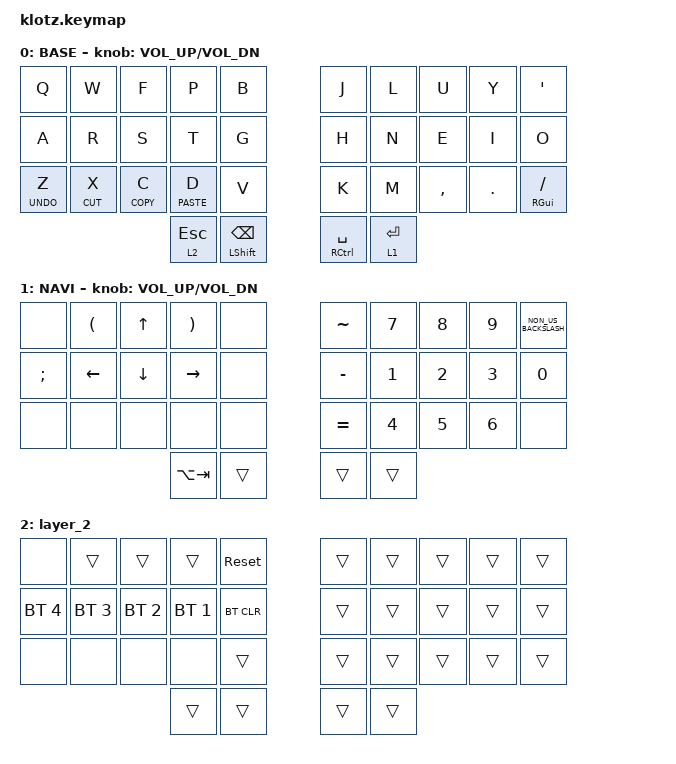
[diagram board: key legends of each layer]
//                                      █         ██        ▄▀▀▀▀▀▀▀▀▀▀█▀▀▀▀▀▀▀▀█▀▀▀▀▀▀▀▀▀▀█
//                                      █        █ █      ▄▀            ▀▄      █         █
//                                      █       █  █    ▄▀                ▀▄    █        █
//                                      █      █   █   █                    █   █       █
//                                      █     █    █   █                    █   █      █
//                                      █    █     █   █                    █   █  ▀▀▀█▀▀▀▀
//                                      █   █ █    █   █                    █   █    █
//                                      █  █   █   █   █                    █   █   █
//                                      █ █     █  █    ▀▄                ▄▀    █  █
//                                      ██       █ █      ▀▄            ▄▀      █ █
//                                      █         ██▄▄▄▄▄▄▄▄█▄▄▄▄▄▄▄▄▄▄▀        ██▄▄▄▄▄▄▄▄▄▄
//
// ▄▄▄▄▄▄▄▄▄▄▄▄▄▄▄▄▄▄▄▄▄▄▄▄▄▄▄▄▄▄▄▄▄▄▄▄▄▄▄▄▄▄▄▄▄▄▄▄▄▄▄▄▄▄▄▄▄▄▄▄▄▄▄▄▄▄▄▄▄▄▄▄▄▄▄▄▄▄▄▄▄▄▄▄▄▄▄▄▄▄▄▄▄▄▄▄▄▄▄▄▄▄▄▄▄▄▄▄▄▄▄▄▄▄▄▄▄▄▄▄▄▄▄▄▄

#include <behaviors.dtsi>
#include <dt-bindings/zmk/bt.h>
#include <dt-bindings/zmk/keys.h>

#define BASE 0
#define NAV  1
#define SYM  2
#define ADJ  3
#define TVP1 4
#define TVP2 5

&mt {
    quick-tap-ms = <100>;
    global-quick-tap;
    flavor = "tap-preferred";
    tapping-term-ms = <180>;
};

/ {
    combos {
        compatible = "zmk,combos";

        enter {
            bindings = <&kp ENTER>;
            key-positions = <16 17 18>;
        };

        Tab {
            bindings = <&kp TAB>;
            key-positions = <11 12 13>;
        };

        Word_Right {
            bindings = <&kp LC(RIGHT)>;
            key-positions = <13 12>;
            layers = <1>;
        };

        Word_Left {
            bindings = <&kp LC(LEFT)>;
            key-positions = <11 12>;
            layers = <1>;
        };
    };

    behaviors {
        UCCP: UCCP {
            compatible = "zmk,behavior-hold-tap";
            label = "UCCP";
            bindings = <&kp>, <&kp>;

            #binding-cells = <2>;
            tapping-term-ms = <200>;
            hold-trigger-key-positions = <22>;
            flavor = "tap-preferred";
        };
    };

    keymap {
        compatible = "zmk,keymap";

        // ▄▄▄▄▄▄▄▄▄▄▄▄▄▄▄▄▄▄▄▄▄▄▄▄▄▄▄▄▄▄▄▄▄▄▄▄▄▄▄▄▄▄▄▄▄▄▄▄▄▄▄▄▄▄▄▄▄▄▄▄▄▄▄▄▄▄▄▄▄▄▄▄▄▄▄▄▄▄▄▄▄▄▄▄▄▄▄▄▄▄▄▄▄▄▄▄▄▄▄▄▄▄▄▄▄▄▄▄▄▄▄▄▄▄▄▄▄▄▄▄▄▄▄▄▄

        base_layer {
            // ┏━━━━━━━━━━━━━━━━━━━━━━━━━━━━━━━━━━━━━━━┓

            label = "BASE";

            // ┗━━━━━━━━━━━━━━━━━━━━━━━━━━━━━━━━━━━━━━━┛
            // ┏━━━━━━━━━━━┳━━━━━━━━━━━┳━━━━━━━━━━━┳━━━━━━━━━━━┳━━━━━━━━━━━┓   ┏━━━━━━━━━━━┳━━━━━━━━━━━┳━━━━━━━━━━━┳━━━━━━━━━━━┳━━━━━━━━━━━┓
            // ┃     Q     ┃     W     ┃     F     ┃     P     ┃     G     ┃   ┃     J     ┃     L     ┃     U     ┃     Y     ┃     ;     ┃
            // ┣━━━━━━━━━━━╋━━━━━━━━━━━╋━━━━━━━━━━━╋━━━━━━━━━━━╋━━━━━━━━━━━┫   ┣━━━━━━━━━━━╋━━━━━━━━━━━╋━━━━━━━━━━━╋━━━━━━━━━━━╋━━━━━━━━━━━┫
            // ┃     A     ┃     R     ┃     S     ┃     T     ┃     D     ┃   ┃     H     ┃     N     ┃     E     ┃     I     ┃     O     ┃
            // ┣━━━━━━━━━━━╋━━━━━━━━━━━╋━━━━━━━━━━━╋━━━━━━━━━━━╋━━━━━━━━━━━┫   ┣━━━━━━━━━━━╋━━━━━━━━━━━╋━━━━━━━━━━━╋━━━━━━━━━━━╋━━━━━━━━━━━┫
            // ┃     Z     ┃     X     ┃     C     ┃     V     ┃     B     ┃   ┃     K     ┃     M     ┃     ,     ┃     .     ┃     /     ┃
            // ┗━━━━━━━━━━━┻━━━━━━━━━━━┻━━━━━━━━━━━╋━━━━━━━━━━━╋━━━━━━━━━━━┫   ┣━━━━━━━━━━━╋━━━━━━━━━━━╋━━━━━━━━━━━┻━━━━━━━━━━━┻━━━━━━━━━━━┛
            //                                     ┃    TAB    ┃    SPC    ┃   ┃   ENTER   ┃   BSPC    ┃
            //                                     ┗━━━━━━━━━━━┻━━━━━━━━━━━┛   ┗━━━━━━━━━━━┻━━━━━━━━━━━┛

            bindings = <
&kp Q           &kp W          &kp F           &kp P            &kp B                     &kp J            &kp L        &kp U      &kp Y    &kp APOS
&kp A           &kp R          &kp S           &kp T            &kp G                     &kp H            &kp N        &kp E      &kp I    &kp O
&UCCP K_UNDO Z  &UCCP K_CUT X  &UCCP K_COPY C  &UCCP K_PASTE D  &kp V                     &kp K            &kp M        &kp COMMA  &kp DOT  &mt RIGHT_GUI FSLH
                                               &lt 2 ESCAPE     &mt LEFT_SHIFT BACKSPACE  &mt RCTRL SPACE  &lt 1 ENTER
            >;

            sensor-bindings = <&inc_dec_kp C_VOL_UP C_VOL_DN>;
        };

        // ▄▄▄▄▄▄▄▄▄▄▄▄▄▄▄▄▄▄▄▄▄▄▄▄▄▄▄▄▄▄▄▄▄▄▄▄▄▄▄▄▄▄▄▄▄▄▄▄▄▄▄▄▄▄▄▄▄▄▄▄▄▄▄▄▄▄▄▄▄▄▄▄▄▄▄▄▄▄▄▄▄▄▄▄▄▄▄▄▄▄▄▄▄▄▄▄▄▄▄▄▄▄▄▄▄▄▄▄▄▄▄▄▄▄▄▄▄▄▄▄▄▄▄▄▄

        nav_layer {
            // ┏━━━━━━━━━━━━━━━━━━━━━━━━━━━━━━━━━━━━━━━┓

            label = "NAVI";

            // ┗━━━━━━━━━━━━━━━━━━━━━━━━━━━━━━━━━━━━━━━┛
            // ┏━━━━━━━━━━━┳━━━━━━━━━━━┳━━━━━━━━━━━┳━━━━━━━━━━━┳━━━━━━━━━━━┓   ┏━━━━━━━━━━━┳━━━━━━━━━━━┳━━━━━━━━━━━┳━━━━━━━━━━━┳━━━━━━━━━━━┓
            // ┃           ┃           ┃     UP    ┃           ┃     {     ┃   ┃     }     ┃     7     ┃     8     ┃     9     ┃     +     ┃
            // ┣━━━━━━━━━━━╋━━━━━━━━━━━╋━━━━━━━━━━━╋━━━━━━━━━━━╋━━━━━━━━━━━┫   ┣━━━━━━━━━━━╋━━━━━━━━━━━╋━━━━━━━━━━━╋━━━━━━━━━━━╋━━━━━━━━━━━┫
            // ┃   SHIFT   ┃   LEFT    ┃    DOWN   ┃   RIGHT   ┃     [     ┃   ┃     ]     ┃     4     ┃     5     ┃     6     ┃     -     ┃
            // ┣━━━━━━━━━━━╋━━━━━━━━━━━╋━━━━━━━━━━━╋━━━━━━━━━━━╋━━━━━━━━━━━┫   ┣━━━━━━━━━━━╋━━━━━━━━━━━╋━━━━━━━━━━━╋━━━━━━━━━━━╋━━━━━━━━━━━┫
            // ┃           ┃   P UP    ┃  C LOCK   ┃  P DOWN   ┃     (     ┃   ┃     )     ┃     1     ┃     2     ┃     3     ┃     *     ┃
            // ┗━━━━━━━━━━━┻━━━━━━━━━━━┻━━━━━━━━━━━╋━━━━━━━━━━━╋━━━━━━━━━━━┫   ┣━━━━━━━━━━━╋━━━━━━━━━━━╋━━━━━━━━━━━┻━━━━━━━━━━━┻━━━━━━━━━━━┛
            //                                     ┃           ┃           ┃   ┃    DEL    ┃     0     ┃  
            //                                     ┗━━━━━━━━━━━┻━━━━━━━━━━━┛   ┗━━━━━━━━━━━┻━━━━━━━━━━━┛

            bindings = <
&none     &kp LPAR  &kp UP    &kp RPAR     &none   &kp TILDE  &kp N7        &kp N8        &kp N9        &kp NON_US_BACKSLASH
&kp SEMI  &kp LEFT  &kp DOWN  &kp RIGHT    &none   &kp MINUS  &kp NUMBER_1  &kp NUMBER_2  &kp N3        &kp N0
&none     &none     &none     &none        &none   &kp EQUAL  &kp NUMBER_4  &kp N5        &kp NUMBER_6  &none
                              &kp LA(TAB)  &trans  &trans     &trans
            >;

            sensor-bindings = <&inc_dec_kp C_VOL_UP C_VOL_DN>;
        };

        layer_2 {
            bindings = <
&none         &trans        &trans        &trans        &sys_reset  &trans  &trans  &trans  &trans  &trans
&bt BT_SEL 4  &bt BT_SEL 3  &bt BT_SEL 2  &bt BT_SEL 1  &bt BT_CLR  &trans  &trans  &trans  &trans  &trans
&none         &none         &none         &none         &trans      &trans  &trans  &trans  &trans  &trans
                                          &trans        &trans      &trans  &trans
            >;
        };

        // ▄▄▄▄▄▄▄▄▄▄▄▄▄▄▄▄▄▄▄▄▄▄▄▄▄▄▄▄▄▄▄▄▄▄▄▄▄▄▄▄▄▄▄▄▄▄▄▄▄▄▄▄▄▄▄▄▄▄▄▄▄▄▄▄▄▄▄▄▄▄▄▄▄▄▄▄▄▄▄▄▄▄▄▄▄▄▄▄▄▄▄▄▄▄▄▄▄▄▄▄▄▄▄▄▄▄▄▄▄▄▄▄▄▄▄▄▄▄▄▄▄▄▄▄▄
        // ▄▄▄▄▄▄▄▄▄▄▄▄▄▄▄▄▄▄▄▄▄▄▄▄▄▄▄▄▄▄▄▄▄▄▄▄▄▄▄▄▄▄▄▄▄▄▄▄▄▄▄▄▄▄▄▄▄▄▄▄▄▄▄▄▄▄▄▄▄▄▄▄▄▄▄▄▄▄▄▄▄▄▄▄▄▄▄▄▄▄▄▄▄▄▄▄▄▄▄▄▄▄▄▄▄▄▄▄▄▄▄▄▄▄▄▄▄▄▄▄▄▄▄▄▄
        // ▄▄▄▄▄▄▄▄▄▄▄▄▄▄▄▄▄▄▄▄▄▄▄▄▄▄▄▄▄▄▄▄▄▄▄▄▄▄▄▄▄▄▄▄▄▄▄▄▄▄▄▄▄▄▄▄▄▄▄▄▄▄▄▄▄▄▄▄▄▄▄▄▄▄▄▄▄▄▄▄▄▄▄▄▄▄▄▄▄▄▄▄▄▄▄▄▄▄▄▄▄▄▄▄▄▄▄▄▄▄▄▄▄▄▄▄▄▄▄▄▄▄▄▄▄
        // ▄▄▄▄▄▄▄▄▄▄▄▄▄▄▄▄▄▄▄▄▄▄▄▄▄▄▄▄▄▄▄▄▄▄▄▄▄▄▄▄▄▄▄▄▄▄▄▄▄▄▄▄▄▄▄▄▄▄▄▄▄▄▄▄▄▄▄▄▄▄▄▄▄▄▄▄▄▄▄▄▄▄▄▄▄▄▄▄▄▄▄▄▄▄▄▄▄▄▄▄▄▄▄▄▄▄▄▄▄▄▄▄▄▄▄▄▄▄▄▄▄▄▄▄▄
    };
};
